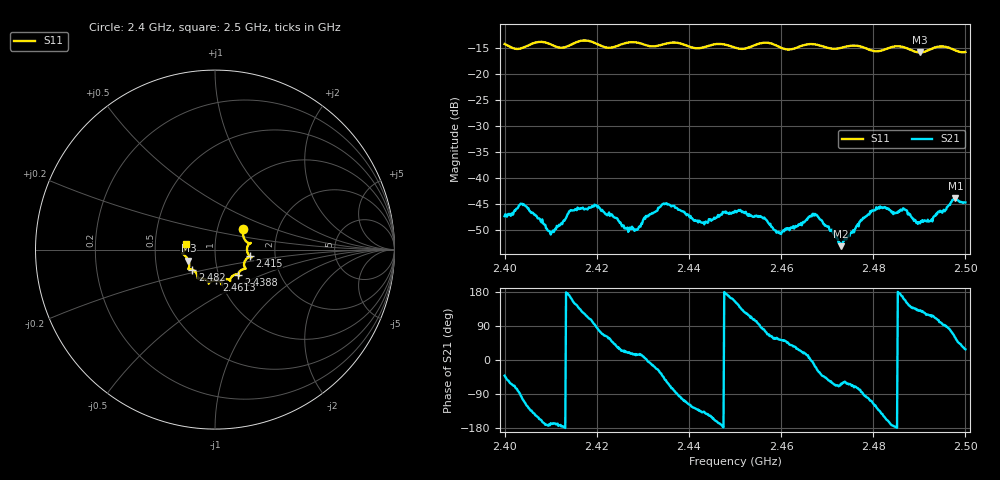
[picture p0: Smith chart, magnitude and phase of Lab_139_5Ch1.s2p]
# Hz S RI R 50
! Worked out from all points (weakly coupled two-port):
!   601 points, 2.4 GHz to 2.5 GHz, reference 50 ohm
!   highest |S21| = -43.86 dB at 2.4978 GHz (marker M1); lowest = -53.1 dB at 2.473 GHz (marker M2)
!   lowest |S11| = -15.9 dB at 2.4902 GHz (marker M3), VSWR 1.38, Z = 36.8 - j4.66 ohm
!   |S11| at or under -10 dB: start of sweep to end of sweep
!   S12 and S22 are empty: the file has one direction only
!   S11 on the Smith chart (normalised r, x): 2.4 GHz: 1.33, +0.31; 2.415 GHz: 1.47, -0.11; 2.4388 GHz: 1.24, -0.36; 2.4613 GHz: 0.96, -0.34; 2.482 GHz: 0.76, -0.17; 2.5 GHz: 0.72, +0.05
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2.4e9  0.158 0.112  0.00322 -0.00284  0 0  0 0
2.404e9  0.1715 0.0479  -0.00144 -0.00529  0 0  0 0
2.410167e9  0.1883 0.0293  -0.00292 -0.000576  0 0  0 0
2.415e9  0.1924 -0.0363  -0.00431 0.00229  0 0  0 0
2.416667e9  0.2034 -0.0439  -0.00324 0.00398  0 0  0 0
2.42e9  0.1896 -0.0424  0.000392 0.00545  0 0  0 0
2.428333e9  0.1709 -0.1058  0.00302 0.000854  0 0  0 0
2.433333e9  0.1323 -0.1314  0.00462 -0.0023  0 0  0 0
2.438833e9  0.1297 -0.1406  -0.00139 -0.00451  0 0  0 0
2.443e9  0.091 -0.154  -0.00277 -0.0025  0 0  0 0
2.45e9  0.0688 -0.1649  -0.00435 0.0021  0 0  0 0
2.456e9  0.0366 -0.1949  0.000605 0.00409  0 0  0 0
2.4595e9  0.0295 -0.1799  0.00171 0.00241  0 0  0 0
2.461333e9  0.00762 -0.1711  0.00233 0.00234  0 0  0 0
2.466667e9  -0.035 -0.1901  0.00427 -0.000217  0 0  0 0
2.473e9  -0.078 -0.1596  0.00102 -0.00196  0 0  0 0
2.482e9  -0.1259 -0.1115  -0.00409 -0.00311  0 0  0 0
2.483333e9  -0.1395 -0.1086  -0.00484 -0.00153  0 0  0 0
2.486833e9  -0.1461 -0.1031  -0.00465 0.00181  0 0  0 0
2.490167e9  -0.1482 -0.0616  -0.00241 0.00276  0 0  0 0
2.497833e9  -0.1677 -0.00259  0.00335 0.00547  0 0  0 0
2.5e9  -0.1588 0.0326  0.00512 0.00275  0 0  0 0
